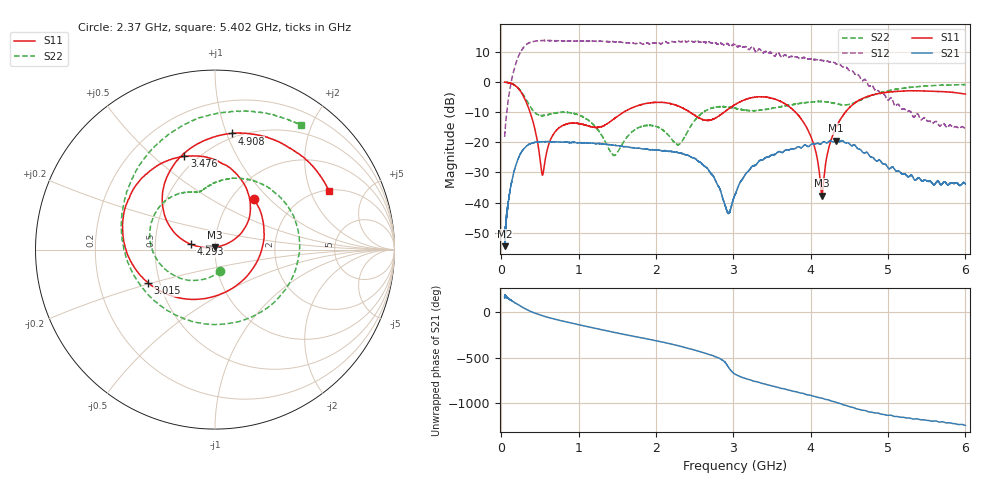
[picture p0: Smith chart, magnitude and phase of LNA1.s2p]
!Agilent Technologies,E8364A,US41440144,A.06.04.32
!Agilent E8364A: A.06.04.32
!Date: Wednesday, November 28, 2018 16:45:30
!Correction: S11(Full 2 Port(1,2)) S21(Full 2 Port(1,2)) S12(Full 2 Port(1,2)) S22(Full 2 Port(1,2))
!S2P File: Measurements: S11, S21, S12, S22:
# Hz S  dB  R 50
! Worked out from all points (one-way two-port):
!   16001 points, 45 MHz to 6 GHz, reference 50 ohm
!   highest |S21| = -19.42 dB at 4.33 GHz (marker M1); lowest = -54.5 dB at 47.23 MHz (marker M2)
!   lowest |S11| = -37.7 dB at 4.145 GHz (marker M3), VSWR 1.03, Z = 49.8 + j1.29 ohm
!   |S11| at or under -10 dB: 374.1 MHz to 1.584 GHz (1.21 GHz wide, 124 % of centre); 2.438 GHz to 2.882 GHz (444.3 MHz wide, 16.7 % of centre); 3.803 GHz to 4.449 GHz (646.3 MHz wide, 15.7 % of centre) (the widest 3 of 5)
!   |S22| runs from -24.4 to -0.1 dB; largest |S21 - S12| = 5
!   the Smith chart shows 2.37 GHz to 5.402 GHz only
!   S11 on the Smith chart (normalised r, x): 2.37 GHz: 1.26, +0.82; 3.015 GHz: 0.43, -0.19; 3.476 GHz: 0.43, +0.63; 4.293 GHz: 0.76, +0.05; 4.908 GHz: 0.46, +1.04; 5.402 GHz: 2.06, +2.74
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4.5e7  -0.06 -19.5  -51.78 174.5  -18.21 -23.8  -0.07 -16.6
4.723312e7  -0.06 -20.5  -54.50 -176.6  -17.35 -24.9  -0.07 -17.5
2.571469e8  -3.34 -121.0  -23.47 65.7  10.28 -126.3  -3.12 -98.8
4.168153e8  -13.61 177.0  -20.16 -2.4  13.47 164.7  -9.60 -127.8
6.818128e8  -17.12 -93.2  -19.86 -72.9  13.71 89.7  -10.37 -140.3
1.037624e9  -13.95 -145.8  -20.16 -144.0  13.61 12.0  -11.31 158.9
1.527051e9  -10.96 -156.2  -21.17 126.7  13.24 -86.8  -22.35 171.0
2.030248e9  -6.72 127.9  -22.61 40.9  12.99 178.5  -15.03 100.0
2.370055e9  -8.96 52.6  -24.03 -27.9  13.60 110.6  -18.30 -75.9
2.70949e9  -12.61 -62.9  -30.31 -111.8  13.00 37.4  -8.75 172.1
3.015056e9  -7.62 -153.4  -37.88 38.7  12.51 -27.3  -8.67 121.5
3.0225e9  -7.52 -155.1  -37.47 35.1  12.38 -29.7  -8.73 120.8
3.248418e9  -5.13 153.9  -27.92 -36.9  11.78 -77.2  -9.52 105.6
3.476197e9  -5.22 108.1  -24.57 -88.6  9.82 -121.8  -8.85 94.2
4.015124e9  -18.87 27.3  -20.59 157.7  7.62 131.8  -6.62 37.1
4.14539e9  -37.69 96.2  -20.26 130.7  7.19 103.4  -6.47 10.3
4.293148e9  -17.18 167.5  -19.91 92.8  6.59 67.4  -7.00 -33.6
4.329622e9  -15.01 164.4  -19.42 84.2  6.04 57.7  -7.20 -47.4
4.908002e9  -3.69 81.9  -26.33 -46.2  -3.90 -65.9  -3.50 119.6
5.007748e9  -3.34 69.9  -28.69 -59.7  -5.99 -76.6  -2.87 103.0
5.401895e9  -2.91 27.0  -31.83 -105.4  -11.47 -132.6  -1.49 55.3
6e9  -4.00 -37.5  -33.86 -171.7  -15.54 167.3  -0.85 -0.1
